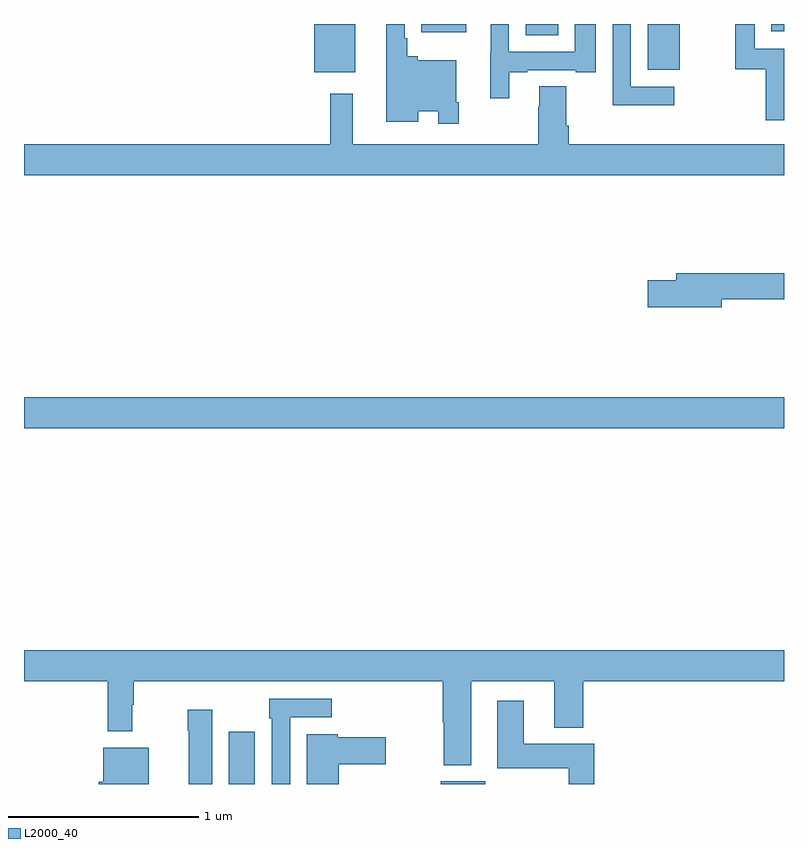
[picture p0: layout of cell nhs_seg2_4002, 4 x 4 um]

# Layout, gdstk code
import gdstk
lib = gdstk.Library(unit=1e-6, precision=1e-09)
def R(c, l, rs):  # rectangles x0, y0, x1, y1
    for r in rs: c.add(gdstk.rectangle(r[:2], r[2:], *l))
def P(c, l, *ps):  # polygons
    for p in ps: c.add(gdstk.Polygon(p, *l))
L2000_40 = (2000, 40)

nhs_seg2_4002 = lib.new_cell('nhs_seg2_4002')
R(nhs_seg2_4002, L2000_40, [(326.078,609.8,326.215,610.075), (327.194,609.8,327.427,609.814), (325,611.672,329,611.836), (326.528,613.547,326.743,613.8), (328.283,613.559,328.45,613.8), (327.641,613.742,327.811,613.8), (327.092,613.757,327.328,613.8), (328.934,613.763,329,613.8)])
P(nhs_seg2_4002, L2000_40, [(327.553,613.545),(327.649,613.545),(327.649,613.557),(327.905,613.557),(327.905,613.545),(328.009,613.545),(328.009,613.8),(327.899,613.8),(327.899,613.653),(327.552,613.653),(327.552,613.8),(327.456,613.8),(327.456,613.65),(327.455,613.65),(327.455,613.41),(327.553,613.41)],
  [(329,613.671),(328.845,613.671),(328.845,613.8),(328.744,613.8),(328.744,613.563),(328.905,613.563),(328.905,613.293),(329,613.293)],
  [(327.289,613.387),(327.276,613.387),(327.276,613.609),(327.072,613.609),(327.072,613.63),(327.016,613.63),(327.016,613.726),(327.003,613.726),(327.003,613.8),(326.906,613.8),(326.906,613.286),(327.076,613.286),(327.076,613.34),(327.18,613.34),(327.18,613.275),(327.289,613.275)],
  [(328.423,613.47),(328.194,613.47),(328.194,613.8),(328.098,613.8),(328.098,613.373),(328.423,613.373)],
  [(329,613.168),(327.866,613.168),(327.866,613.264),(327.853,613.264),(327.853,613.472),(327.713,613.472),(327.713,613.364),(327.706,613.364),(327.706,613.168),(326.729,613.168),(326.729,613.432),(326.611,613.432),(326.611,613.168),(325,613.168),(325,613.004),(329,613.004)],
  [(328.672,612.352),(329,612.352),(329,612.488),(328.433,612.488),(328.433,612.452),(328.284,612.452),(328.284,612.31),(328.672,612.31)],
  [(327.355,610.34),(327.791,610.34),(327.791,610.097),(327.944,610.097),(327.944,610.34),(329,610.34),(329,610.504),(325,610.504),(325,610.34),(325.441,610.34),(325.441,610.077),(325.57,610.077),(325.57,610.217),(325.577,610.217),(325.577,610.34),(327.203,610.34),(327.203,610.125),(327.208,610.125),(327.208,609.899),(327.355,609.899)],
  [(326.4,610.152),(326.62,610.152),(326.62,610.248),(326.292,610.248),(326.292,610.145),(326.304,610.145),(326.304,609.8),(326.4,609.8)],
  [(328.001,610.012),(327.631,610.012),(327.631,610.237),(327.491,610.237),(327.491,609.884),(327.866,609.884),(327.866,609.8),(328.001,609.8)],
  [(325.99,610.192),(325.861,610.192),(325.861,610.079),(325.868,610.079),(325.868,609.8),(325.99,609.8)],
  [(326.656,609.905),(326.905,609.905),(326.905,610.047),(326.652,610.047),(326.652,610.063),(326.489,610.063),(326.489,609.8),(326.656,609.8)],
  [(325.657,609.991),(325.418,609.991),(325.418,609.813),(325.394,609.813),(325.394,609.8),(325.657,609.8)])

lib.write_gds('nhs_seg2_4002.gds')
